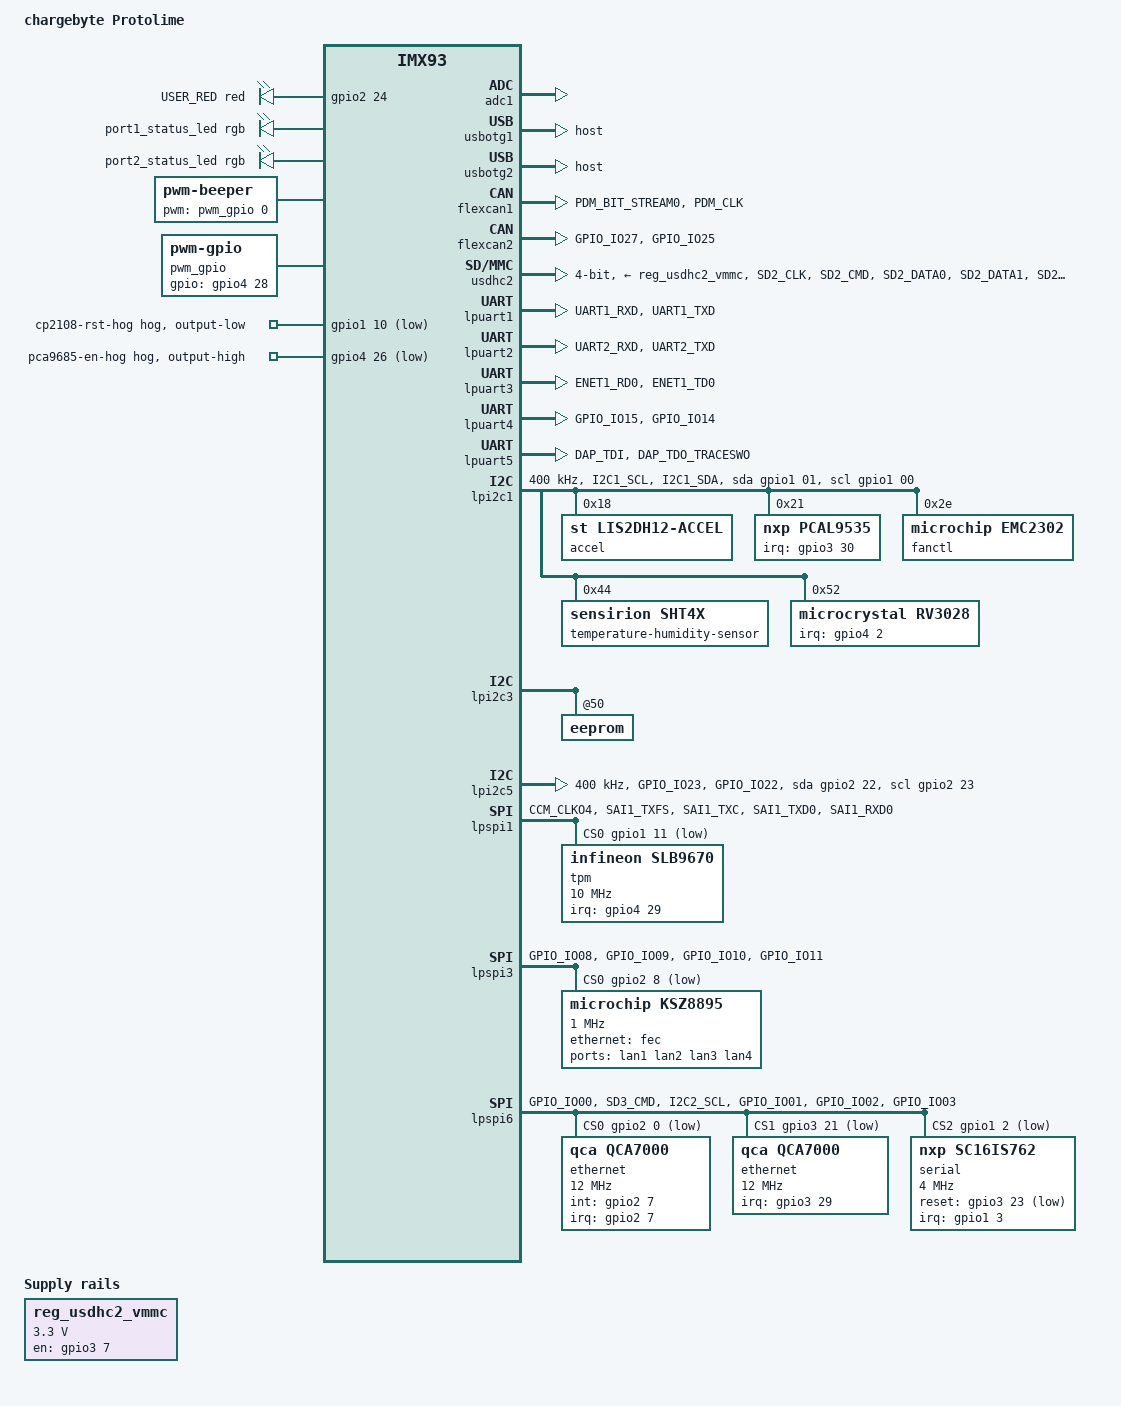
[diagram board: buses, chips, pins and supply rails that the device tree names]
// SPDX-License-Identifier: (GPL-2.0+ OR MIT)
/*
 * Copyright (C) 2026 chargebyte GmbH
 */

/dts-v1/;

#include <dt-bindings/gpio/gpio.h>
#include <dt-bindings/input/input.h>
#include <dt-bindings/interrupt-controller/irq.h>
#include <dt-bindings/pwm/pwm.h>
#include <dt-bindings/leds/common.h>
#include "imx93-pinfunc.h"
#include "imx93-phycore-som.dtsi"

/ {
	model = "chargebyte Protolime";
	compatible = "chargebyte,imx93-protolime", "phytec,imx93-phycore-som", "fsl,imx93";

	chosen {
		stdout-path = &lpuart1;
	};

	// avoid conflict with Heartbeat LED on phyCore
	/delete-node/ leds;

	// prefer custom RTC
	aliases {
		rtc0 = &rv3028;
		rtc1 = &bbnsm_rtc;
	};

	reg_usdhc2_vmmc: regulator-usdhc2 {
		compatible = "regulator-fixed";
		gpio = <&gpio3 7 GPIO_ACTIVE_HIGH>;
		enable-active-high;
		pinctrl-names = "default";
		pinctrl-0 = <&pinctrl_reg_usdhc2_vmmc>;
		regulator-max-microvolt = <3300000>;
		regulator-min-microvolt = <3300000>;
		regulator-name = "VCC_SD";
	};

	user_leds: user-leds {
		compatible = "gpio-leds";
		pinctrl-names = "default";
		pinctrl-0 = <&pinctrl_user_leds>;

		USER_RED {
			color = <LED_COLOR_ID_RED>;
			function = LED_FUNCTION_BOOT;
			gpios = <&gpio2 24 GPIO_ACTIVE_HIGH>;
			linux,default-trigger = "timer";
		};
	};

	pwm_user_leds1: pwm-user-leds-1 {
		compatible = "pwm-leds-multicolor";

		port1_status_led: multi-led {
			color = <LED_COLOR_ID_RGB>;
			function = LED_FUNCTION_STATUS;
			function-enumerator = <1>;
			max-brightness = <255>;

			led-red {
				pwms = <&pca9685 0 5000000>;
				color = <LED_COLOR_ID_RED>;
			};

			led-green {
				pwms = <&pca9685 1 5000000>;
				color = <LED_COLOR_ID_GREEN>;
			};

			led-blue {
				pwms = <&pca9685 2 5000000>;
				color = <LED_COLOR_ID_BLUE>;
			};
		};

	};

	pwm_user_leds2: pwm-user-leds-2 {
		compatible = "pwm-leds-multicolor";

		port2_status_led: multi-led {
			color = <LED_COLOR_ID_RGB>;
			function = LED_FUNCTION_STATUS;
			function-enumerator = <2>;
			max-brightness = <255>;

			led-red {
				pwms = <&pca9685 3 5000000>;
				color = <LED_COLOR_ID_RED>;
			};

			led-green {
				pwms = <&pca9685 4 5000000>;
				color = <LED_COLOR_ID_GREEN>;
			};

			led-blue {
				pwms = <&pca9685 5 5000000>;
				color = <LED_COLOR_ID_BLUE>;
			};
		};
	};

	pwm-beeper {
		compatible = "pwm-beeper";
		pwms = <&pwm_gpio 0 1 0>;
	};

	pwm_gpio: pwm-gpio {
		compatible = "pwm-gpio";
		pinctrl-names = "default";
		pinctrl-0 = <&pinctrl_buzzer>;
		gpios = <&gpio4 28 GPIO_ACTIVE_HIGH>;
		#pwm-cells = <3>;
	};
};

&gpio1 {
	pinctrl-names = "default";
	pinctrl-0 = <&pinctrl_gpio1>;

	// 16 pins (0..15)
	gpio-line-names = "", "", "SC16IS762_CS", "SC16IS762_IRQ", "", "", "", "", "", "", \
			  "CP2108_RESET_L", "", "", "", "", "";

	cp2108-rst-hog {
		gpio-hog;
		gpios = <10 GPIO_ACTIVE_LOW>;
		output-low;
	};
};

&gpio2 {
	// 30 pins (0..29)
	gpio-line-names = "SPI_PLC_nCS0", "", "", "", "", "", "", "SPI_PLC_nINT0", "SPI_TPM_nCS0", "", \
			  "", "", "", "", "", "", "", "PLC1_PWR_EN_L", "BACKLIGHT_PWM", "", \
			  "", "", "", "", "USER_RED", "", "KSZ8895_RESET_L", "", "", "";
};

&gpio3 {
	pinctrl-names = "default";
	pinctrl-0 = <&pinctrl_gpio3>;

	// 32 pins (0..31)
	gpio-line-names = "SD_nCD", "", "", "", "", "", "", "", "", "", \
			  "", "", "", "", "", "", "", "", "", "", \
			  "", "SPI_PLC_nCS1", "", "SC16IS762_RESET_N", "PORT2_SHUTTER_1", "PORT2_SHUTTER_2", "PORT1_SHUTTER_1", "PORT1_SHUTTER_2", "", "SPI_PLC_nINT1", \
			  "PCAL9535_INT", "", "";
};

&gpio4 {
	pinctrl-names = "default";
	pinctrl-0 = <&pinctrl_gpio4>;

	// 30 pins (0..29)
	gpio-line-names = "", "", "", "nSAFETY2_RESET_INT", "", "", "nSAFETY_RESET_INT", "PLC1_RESET_L", "", "PLC2_RESET_L", \
			  "", "PLC2_PWR_EN_L", "SAFETY_BOOTMODE_SET", "SAFETY2_BOOTMODE_SET", "", "", "DISPLAY_EN", "", "", "", \
			  "", "SOM_EEPROM_WP", "", "SOM_PHY_RESET", "", "", "LED_DRIVER_EN", "PMIC_IRQ_B", "BUZZER_PWM", "SPI_TPM_nINT0";

	pca9685-en-hog {
		gpio-hog;
		gpios = <26 GPIO_ACTIVE_LOW>;
		output-high;
	};
};

&adc1 {
	status = "okay";
};

&bbnsm_pwrkey {
	status = "disabled";
};

/* USB1 is connected to 4 port hub */
&usbotg1 {
	disable-over-current;
	dr_mode = "host";
	status = "okay";
};

&usbphynop1 {
	vcc-supply = <&buck4>;
};

/* USB2 is connected to CP2108 */
&usbotg2 {
	disable-over-current;
	dr_mode = "host";
	status = "okay";
};

&usbphynop2 {
	vcc-supply = <&buck4>;
};

/* CAN1 */
&flexcan1 {
	pinctrl-names = "default";
	pinctrl-0 = <&pinctrl_flexcan1>;
	status = "okay";
};

/* CAN2 */
&flexcan2 {
	pinctrl-names = "default";
	pinctrl-0 = <&pinctrl_flexcan2>;
	status = "okay";
};

/* microSD */
&usdhc2 {
	pinctrl-names = "default";
	pinctrl-0 = <&pinctrl_usdhc2_default>, <&pinctrl_usdhc2_cd>;
	cd-gpios = <&gpio3 0 GPIO_ACTIVE_LOW>;
	vmmc-supply = <&reg_usdhc2_vmmc>;
	bus-width = <4>;
	disable-wp;
	no-sdio;
	no-mmc;
	no-1-8-v;
	status = "okay";
};

/* Console */
&lpuart1 {
	pinctrl-names = "default";
	pinctrl-0 = <&pinctrl_uart1>;
	status = "okay";
};

/* Safety Controller 2 */
&lpuart2 {
	pinctrl-names = "default";
	pinctrl-0 = <&pinctrl_uart2>;
	status = "okay";
};

/* Safety Controller 1 */
&lpuart3 {
	pinctrl-names = "default";
	pinctrl-0 = <&pinctrl_uart3>;
	status = "okay";
};

/* CN17 */
&lpuart4 {
	pinctrl-names = "default";
	pinctrl-0 = <&pinctrl_uart4>;
	status = "okay";
};

/* CN17 */
&lpuart5 {
	pinctrl-names = "default";
	pinctrl-0 = <&pinctrl_uart5>;
	status = "okay";
};

&lpi2c1 {
	clock-frequency = <400000>;
	pinctrl-names = "default", "gpio";
	pinctrl-0 = <&pinctrl_lpi2c1>;
	pinctrl-1 = <&pinctrl_lpi2c1_gpio>;
	scl-gpios = <&gpio1 00 (GPIO_ACTIVE_HIGH | GPIO_OPEN_DRAIN)>;
	sda-gpios = <&gpio1 01 (GPIO_ACTIVE_HIGH | GPIO_OPEN_DRAIN)>;
	#address-cells = <1>;
	#size-cells = <0>;
	status = "okay";

	accel@18 {
		compatible = "st,lis2dh12-accel";
		reg = <0x18>;
	};

	pcal9535: gpio@21 {
		compatible = "nxp,pcal9535";
		reg = <0x21>;
		pinctrl-names = "default";
		pinctrl-0 = <&pinctrl_pcal9535>;
		gpio-controller;
		#gpio-cells = <2>;
		interrupt-parent = <&gpio3>;
		interrupts = <30 IRQ_TYPE_LEVEL_LOW>;

		// 16 pins (0..15)
		gpio-line-names = "", "", "", "", "", "", "", "HEATER_RELAY", "PORT1_DIGITAL_IN_2", "PORT1_DIGITAL_IN_1", \
				  "PORT1_DIGITAL_OUT_2", "PORT1_DIGITAL_OUT_1", "PORT2_DIGITAL_OUT_1", "PORT2_DIGITAL_OUT_2", "PORT2_DIGITAL_IN_2", "PORT2_DIGITAL_IN_1";
	};

	fanctl: fan-controller@2e {
		compatible = "microchip,emc2302", "microchip,emc2305";
		reg = <0x2e>;

		#address-cells = <1>;
		#size-cells = <0>;
		#pwm-cells = <3>;

		fan@0 {
			reg = <0>;
			pwms = <&fanctl 26000 PWM_POLARITY_INVERTED 1>;
			#cooling-cells = <2>;
		};

		fan@1 {
			reg = <1>;
			pwms = <&fanctl 26000 PWM_POLARITY_INVERTED 1>;
			#cooling-cells = <2>;
		};
	};

	pca9685: pwm@40 {
		compatible = "nxp,pca9685-pwm";
		reg = <0x40>;
		#pwm-cells = <2>;
	};

	temperature-humidity-sensor@44 {
		compatible = "sensirion,sht4x";
		reg = <0x44>;
	};

	rv3028: rtc@52 {
		compatible = "microcrystal,rv3028";
		reg = <0x52>;
		pinctrl-names = "default";
		pinctrl-0 = <&pinctrl_rtc>;
		interrupt-parent = <&gpio4>;
		interrupts = <2 IRQ_TYPE_LEVEL_LOW>;
		wakeup-source;
		trickle-resistor-ohms = <3000>;
	};
};

/* EEPROM on phyCORE */
&lpi2c3 {
	eeprom@50 {
		nvmem-layout {
			compatible = "fixed-layout";
			#address-cells = <1>;
			#size-cells = <1>;

			eth1_host_mac_address: base-mac-address@100 {
				compatible = "mac-base";
				reg = <0x100 0x6>;
				#nvmem-cell-cells = <1>;
			};

			eth2_host_mac_address: base-mac-address@108 {
				compatible = "mac-base";
				reg = <0x108 0x6>;
				#nvmem-cell-cells = <1>;
			};
		};
	};
};

/* CN18 (Display/Touch) */
&lpi2c5 {
	clock-frequency = <400000>;
	pinctrl-names = "default", "gpio";
	pinctrl-0 = <&pinctrl_lpi2c5>;
	pinctrl-1 = <&pinctrl_lpi2c5_gpio>;
	scl-gpios = <&gpio2 23 (GPIO_ACTIVE_HIGH | GPIO_OPEN_DRAIN)>;
	sda-gpios = <&gpio2 22 (GPIO_ACTIVE_HIGH | GPIO_OPEN_DRAIN)>;
	#address-cells = <1>;
	#size-cells = <0>;
	status = "okay";
};

&lpspi1 {
	pinctrl-names = "default";
	pinctrl-0 = <&pinctrl_lpspi1>;
	num-cs = <1>;
	cs-gpios = <&gpio1 11 GPIO_ACTIVE_LOW>;
	status = "okay";

	/* TPM */
	tpm@0 {
		compatible = "infineon,slb9670", "tcg,tpm_tis-spi";
		reg = <0>;
		spi-max-frequency = <10000000>;
		interrupt-parent = <&gpio4>;
		interrupts = <29 IRQ_TYPE_LEVEL_LOW>;
	};
};

&lpspi3 {
	pinctrl-names = "default";
	pinctrl-0 = <&pinctrl_lpspi3>;
	num-cs = <1>;
	cs-gpios = <&gpio2 8 GPIO_ACTIVE_LOW>;
	#address-cells = <1>;
	#size-cells = <0>;
	status = "okay";

	ksz8895: switch@0 {
		compatible = "microchip,ksz8895";
		reg = <0>;

		pinctrl-names = "default";
		pinctrl-0 = <&pinctrl_ksz8895>;

		spi-max-frequency = <1000000>;

		ethernet-ports {
			#address-cells = <1>;
			#size-cells = <0>;

			port@0 {
				reg = <0>;
				label = "lan1";
			};

			port@1 {
				reg = <1>;
				label = "lan2";
			};

			port@2 {
				reg = <2>;
				label = "lan3";
			};

			port@3 {
				reg = <3>;
				label = "lan4";
			};

			port@4 {
				reg = <4>;
				ethernet = <&fec>;
				phy-mode = "internal";
			};
		};
	};
};

&lpspi6 {
	pinctrl-names = "default";
	pinctrl-0 = <&pinctrl_lpspi6>;
	num-cs = <3>;
	cs-gpios = <&gpio2 0 GPIO_ACTIVE_LOW>,
	           <&gpio3 21 GPIO_ACTIVE_LOW>,
	           <&gpio1 2 GPIO_ACTIVE_LOW>;
	status = "okay";

	ethernet@0 {
		compatible = "qca,qca7000";
		reg = <0>;
		int-gpios = <&gpio2 7 GPIO_ACTIVE_HIGH>;

		pinctrl-names = "default";
		pinctrl-0 = <&pinctrl_qca700x_1>;
		interrupt-parent = <&gpio2>;
		interrupts = <7 IRQ_TYPE_EDGE_RISING>;

		spi-cpha;
		spi-cpol;
		spi-max-frequency = <12000000>;

		nvmem-cells = <&eth1_host_mac_address 0>;
		nvmem-cell-names = "mac-address";
	};

	ethernet@1 {
		compatible = "qca,qca7000";
		reg = <1>;

		pinctrl-names = "default";
		pinctrl-0 = <&pinctrl_qca700x_2>;
		interrupt-parent = <&gpio3>;
		interrupts = <29 IRQ_TYPE_EDGE_RISING>;

		spi-cpha;
		spi-cpol;
		spi-max-frequency = <12000000>;

		nvmem-cells = <&eth2_host_mac_address 0>;
		nvmem-cell-names = "mac-address";
	};

	serial@2 {
		compatible = "nxp,sc16is762";
		reg = <0x2>;
		pinctrl-names = "default";
		pinctrl-0 = <&pinctrl_sc16is762>;
		clock-frequency = <14745600>;
		reset-gpios = <&gpio3 23 GPIO_ACTIVE_LOW>;
		interrupt-parent = <&gpio1>;
		interrupts = <3 IRQ_TYPE_EDGE_FALLING>;
		spi-max-frequency = <4000000>;
		linux,rs485-enabled-at-boot-time;
	};
};

&iomuxc {
	/delete-node/ pinctrl_leds;

	pinctrl_reg_usdhc2_vmmc: regusdhc2vmmcgrp {
		fsl,pins = <
			MX93_PAD_SD2_RESET_B__GPIO3_IO07	0x31e
		>;
	};

	pinctrl_usdhc2_cd: usdhc2cdgrp {
		fsl,pins = <
			MX93_PAD_SD2_CD_B__GPIO3_IO00		0x31e
		>;
	};

	/* need to config the SION for data and cmd pad, refer to ERR052021 */
	pinctrl_usdhc2_default: usdhc2grp {
		fsl,pins = <
			MX93_PAD_SD2_CLK__USDHC2_CLK		0x119e
			MX93_PAD_SD2_CMD__USDHC2_CMD		0x4000139e
			MX93_PAD_SD2_DATA0__USDHC2_DATA0	0x4000138e
			MX93_PAD_SD2_DATA1__USDHC2_DATA1	0x4000138e
			MX93_PAD_SD2_DATA2__USDHC2_DATA2	0x4000138e
			MX93_PAD_SD2_DATA3__USDHC2_DATA3	0x4000139e
		>;
	};

	pinctrl_flexcan1: flexcan1grp {
		fsl,pins = <
			MX93_PAD_PDM_BIT_STREAM0__CAN1_RX	0x139e
			MX93_PAD_PDM_CLK__CAN1_TX		0x1382
		>;
	};

	pinctrl_flexcan2: flexcan2grp {
		fsl,pins = <
			MX93_PAD_GPIO_IO27__CAN2_RX		0x139e
			MX93_PAD_GPIO_IO25__CAN2_TX		0x1382
		>;
	};

	pinctrl_rtc: rtcgrp {
		fsl,pins = <
			MX93_PAD_ENET1_TD3__GPIO4_IO02		0x31e // RTC_nINT
		>;
	};

	pinctrl_uart1: uart1grp {
		fsl,pins = <
			MX93_PAD_UART1_RXD__LPUART1_RX		0x31e // drive strength: X4, slew rate: slightly fast, pull up
			MX93_PAD_UART1_TXD__LPUART1_TX		0x30e // drive strength: X3, slew rate: slightly fast, pull up
		>;
	};

	pinctrl_uart2: uart2grp {
		fsl,pins = <
			MX93_PAD_UART2_RXD__LPUART2_RX		0x31e // drive strength: X4, slew rate: slightly fast, pull up
			MX93_PAD_UART2_TXD__LPUART2_TX 		0x30e // drive strength: X3, slew rate: slightly fast, pull up
		>;
	};

	pinctrl_uart3: uart3grp {
		fsl,pins = <
			MX93_PAD_ENET1_RD0__LPUART3_RX		0x31e // drive strength: X4, slew rate: slightly fast, pull up
			MX93_PAD_ENET1_TD0__LPUART3_TX 		0x30e // drive strength: X3, slew rate: slightly fast, pull up
		>;
	};

	pinctrl_uart4: uart4grp {
		fsl,pins = <
			MX93_PAD_GPIO_IO15__LPUART4_RX		0x31e // drive strength: X4, slew rate: slightly fast, pull up
			MX93_PAD_GPIO_IO14__LPUART4_TX		0x30e // drive strength: X3, slew rate: slightly fast, pull up
		>;
	};

	pinctrl_uart5: uart5grp {
		fsl,pins = <
			MX93_PAD_DAP_TDI__LPUART5_RX		0x31e // drive strength: X4, slew rate: slightly fast, pull up
			MX93_PAD_DAP_TDO_TRACESWO__LPUART5_TX	0x30e // drive strength: X3, slew rate: slightly fast, pull up
		>;
	};

	pinctrl_lpi2c1: lpi2c1grp {
		/* sion, drive strength: X2, slew rate: fast, pull up, open drain */
		fsl,pins = <
			MX93_PAD_I2C1_SCL__LPI2C1_SCL		0x40000b86
			MX93_PAD_I2C1_SDA__LPI2C1_SDA		0x40000b86
		>;
	};

	pinctrl_lpi2c1_gpio: lpi2c1gpiogrp {
		fsl,pins = <
			MX93_PAD_I2C1_SCL__GPIO1_IO00		0x40000b9e
			MX93_PAD_I2C1_SDA__GPIO1_IO01		0x40000b9e
		>;
	};

	pinctrl_lpi2c5: lpi2c5grp {
		/* sion, drive strength: X2, slew rate: fast, pull up, open drain */
		fsl,pins = <
			MX93_PAD_GPIO_IO23__LPI2C5_SCL		0x40000b86
			MX93_PAD_GPIO_IO22__LPI2C5_SDA		0x40000b86
		>;
	};

	pinctrl_lpi2c5_gpio: lpi2c5gpiogrp {
		fsl,pins = <
			MX93_PAD_GPIO_IO22__GPIO2_IO22		0x40000b9e
			MX93_PAD_GPIO_IO23__GPIO2_IO23		0x40000b9e
		>;
	};

	pinctrl_lpspi1: lpspi1grp {
		/* drive strength: X2, slew rate: fast, no pull */
		fsl,pins = <
			MX93_PAD_CCM_CLKO4__GPIO4_IO29		0x186 // SPI_TPM_nINT0
			MX93_PAD_SAI1_TXFS__GPIO1_IO11		0x186 // SPI_TPM_nCS0
			MX93_PAD_SAI1_TXC__LPSPI1_SIN 		0x186
			MX93_PAD_SAI1_TXD0__LPSPI1_SCK		0x186
			MX93_PAD_SAI1_RXD0__LPSPI1_SOUT		0x186
		>;
	};

	pinctrl_lpspi3: lpspi3grp {
		/* drive strength: X2, slew rate: fast, no pull */
		fsl,pins = <
			MX93_PAD_GPIO_IO08__GPIO2_IO08		0x186 // SPI_EXT_CS0
			MX93_PAD_GPIO_IO09__LPSPI3_SIN		0x186
			MX93_PAD_GPIO_IO10__LPSPI3_SOUT		0x186
			MX93_PAD_GPIO_IO11__LPSPI3_SCK		0x186
		>;
	};

	pinctrl_lpspi6: lpspi6grp {
		/* drive strength: X2, slew rate: fast, no pull */
		fsl,pins = <
			MX93_PAD_GPIO_IO00__GPIO2_IO00		0x186 // SPI_PLC_nCS0
			MX93_PAD_SD3_CMD__GPIO3_IO21		0x186 // SPI_PLC_nCS1
			MX93_PAD_I2C2_SCL__GPIO1_IO02		0x186 // SC16IS762_CS
			MX93_PAD_GPIO_IO01__LPSPI6_SIN		0x186
			MX93_PAD_GPIO_IO02__LPSPI6_SOUT		0x186
			MX93_PAD_GPIO_IO03__LPSPI6_SCK		0x186
		>;
	};

	pinctrl_qca700x_1: qca700x1grp {
		fsl,pins = <
			MX93_PAD_GPIO_IO07__GPIO2_IO07		0x186 // SPI_PLC_nINT0
			MX93_PAD_GPIO_IO17__GPIO2_IO17		0x31e // PLC1_PWR_EN_L
			MX93_PAD_ENET1_TXC__GPIO4_IO07		0x31e // PLC1_RESET_L
		>;
	};

	pinctrl_qca700x_2: qca700x2grp {
		fsl,pins = <
			MX93_PAD_DAP_TMS_SWDIO__GPIO3_IO29	0x186 // SPI_PLC_nINT1
			MX93_PAD_ENET1_RXC__GPIO4_IO09		0x31e // PLC2_RESET_L
			MX93_PAD_ENET1_RD1__GPIO4_IO11		0x31e // PLC2_PWR_EN_L
		>;
	};

	pinctrl_user_leds: userledgrp {
		fsl,pins = <
			MX93_PAD_GPIO_IO24__GPIO2_IO24		0x31e // USER_RED
		>;
	};

	pinctrl_buzzer: buzzergrp {
		fsl,pins = <
			MX93_PAD_CCM_CLKO3__GPIO4_IO28		0x31e // BUZZER_PWM
		>;
	};

	pinctrl_sc16is762: sc16is762grp {
		fsl,pins = <
			MX93_PAD_I2C2_SDA__GPIO1_IO03		0x31e // SC16IS762_IRQ
			MX93_PAD_SD3_DATA1__GPIO3_IO23		0x31e // SC16IS762_RESET_N
		>;
	};

	pinctrl_ksz8895: ksz8895grp {
		fsl,pins = <
			MX93_PAD_GPIO_IO26__GPIO2_IO26		0x31e // KSZ8895_RESET_L
		>;
	};

	pinctrl_pcal9535: pcal9535grp {
		fsl,pins = <
			MX93_PAD_DAP_TCLK_SWCLK__GPIO3_IO30	0x31e // PCA9673_INT
		>;
	};

	pinctrl_gpio1: gpio1grp {
		fsl,pins = <
			MX93_PAD_PDM_BIT_STREAM1__GPIO1_IO10	0x31e // CP2108_RESET_L
		>;
	};

	pinctrl_gpio3: gpio3grp {
		fsl,pins = <
			MX93_PAD_SD3_DATA2__GPIO3_IO24		0x31e // TTL_PORT2_SHUTTER_1
			MX93_PAD_SD3_DATA3__GPIO3_IO25		0x31e // TTL_PORT2_SHUTTER_2
			MX93_PAD_CCM_CLKO1__GPIO3_IO26		0x31e // TTL_PORT1_SHUTTER_1
			MX93_PAD_CCM_CLKO2__GPIO3_IO27		0x31e // TTL_PORT1_SHUTTER_2
		>;
	};

	pinctrl_gpio4: gpio4grp {
		fsl,pins = <
			MX93_PAD_ENET1_TD2__GPIO4_IO03		0x31e // nSAFETY2_RESET_INT
			MX93_PAD_ENET1_TX_CTL__GPIO4_IO06	0x31e // nSAFETY_RESET_INT
			MX93_PAD_ENET1_RD2__GPIO4_IO12 		0x31e // SAFETY_BOOTMODE_SET
			MX93_PAD_ENET1_RD3__GPIO4_IO13		0x31e // SAFETY2_BOOTMODE_SET
			MX93_PAD_ENET2_RD2__GPIO4_IO26		0x31e // LED_DRIVER_EN
		>;
	};
};
